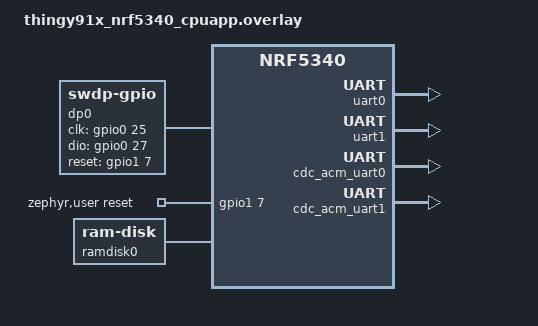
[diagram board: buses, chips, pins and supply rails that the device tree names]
/*
 * Copyright (c) 2023 Nordic Semiconductor ASA
 *
 * SPDX-License-Identifier: LicenseRef-Nordic-5-Clause
 */


/ {
	dp0 {
		compatible = "zephyr,swdp-gpio";
		status = "okay";
		clk-gpios = <&gpio0 25 GPIO_ACTIVE_HIGH>;
		dio-gpios = <&gpio0 27 GPIO_ACTIVE_HIGH>;
		reset-gpios = <&gpio1 7 GPIO_ACTIVE_HIGH>;
		port-write-cycles = <2>;
	};

	zephyr,user {
		reset-gpios = <&gpio1 7 GPIO_ACTIVE_HIGH>;
	};

	chosen {
		zephyr,console = &rtt0;
		zephyr,shell-uart = &rtt0;
		zephyr,uart-mcumgr = &rtt0;
		zephyr,bt-mon-uart = &rtt0;
		zephyr,bt-c2h-uart = &rtt0;
	};

	ramdisk0 {
		compatible = "zephyr,ram-disk";
		disk-name = "RAM";
		sector-size = <512>;
		sector-count = <128>;
	};
};

&uart0 {
	status = "okay";
};

&uart1 {
	status = "okay";
};


&zephyr_udc0 {
	cdc_acm_uart0: cdc_acm_uart0 {
		compatible = "zephyr,cdc-acm-uart";
	};

	cdc_acm_uart1: cdc_acm_uart1 {
		compatible = "zephyr,cdc-acm-uart";
	};
};
